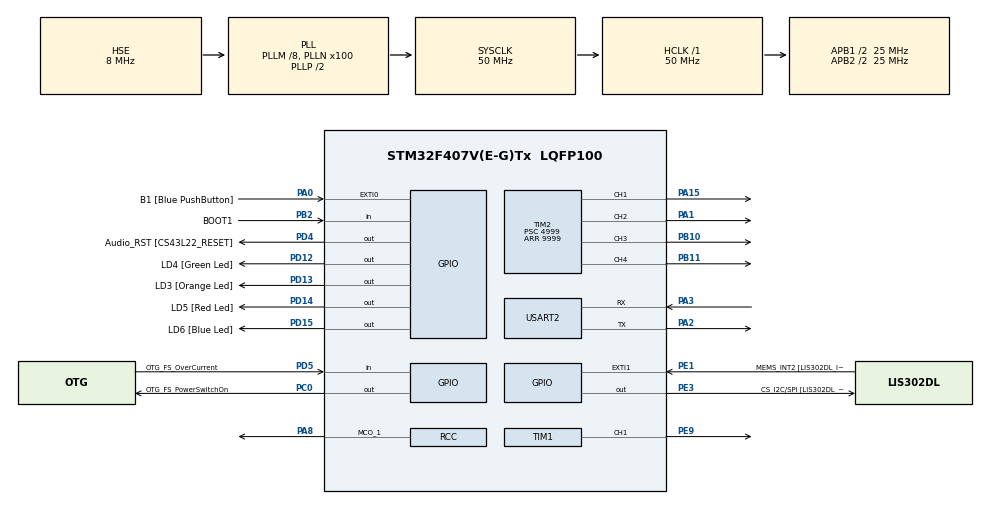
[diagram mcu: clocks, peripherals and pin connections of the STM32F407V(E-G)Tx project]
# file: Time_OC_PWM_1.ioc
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Dma.Request0=TIM1_UP
Dma.TIM1_UP.0.Direction=DMA_PERIPH_TO_MEMORY
Dma.TIM1_UP.0.FIFOMode=DMA_FIFOMODE_DISABLE
Dma.TIM1_UP.0.Instance=DMA2_Stream5
Dma.TIM1_UP.0.MemDataAlignment=DMA_MDATAALIGN_BYTE
Dma.TIM1_UP.0.MemInc=DMA_MINC_ENABLE
Dma.TIM1_UP.0.Mode=DMA_NORMAL
Dma.TIM1_UP.0.PeriphDataAlignment=DMA_PDATAALIGN_BYTE
Dma.TIM1_UP.0.PeriphInc=DMA_PINC_ENABLE
Dma.TIM1_UP.0.Priority=DMA_PRIORITY_HIGH
Mcu.Family=STM32F4
Mcu.Name=STM32F407V(E-G)Tx
Mcu.Package=LQFP100
NVIC.DMA2_Stream5_IRQn=true\:0\:0\:false\:false\:true\:false\:true
NVIC.PriorityGroup=NVIC_PRIORITYGROUP_0
NVIC.USART2_IRQn=true\:0\:0\:false\:false\:true\:true\:true
PA0-WKUP.GPIO_Label=B1 [Blue PushButton]
PA0-WKUP.Signal=GPXTI0
PA1.Signal=S_TIM2_CH2
PA10.GPIO_Label=OTG_FS_ID
PA10.GPIO_Mode=GPIO_MODE_AF_PP
PA10.GPIO_PuPd=GPIO_NOPULL
PA10.GPIO_Speed=GPIO_SPEED_FREQ_LOW
PA10.Signal=USB_OTG_FS_ID
PA11.GPIO_Label=OTG_FS_DM
PA11.GPIO_Mode=GPIO_MODE_AF_PP
PA11.GPIO_PuPd=GPIO_NOPULL
PA11.GPIO_Speed=GPIO_SPEED_FREQ_LOW
PA11.Signal=USB_OTG_FS_DM
PA12.GPIO_Label=OTG_FS_DP
PA12.GPIO_Mode=GPIO_MODE_AF_PP
PA12.GPIO_PuPd=GPIO_NOPULL
PA12.GPIO_Speed=GPIO_SPEED_FREQ_LOW
PA12.Signal=USB_OTG_FS_DP
PA13.GPIO_Label=SWDIO
PA13.Signal=SYS_JTMS-SWDIO
PA14.GPIO_Label=SWCLK
PA14.Signal=SYS_JTCK-SWCLK
PA15.Signal=S_TIM2_CH1_ETR
PA2.Mode=Asynchronous
PA2.Signal=USART2_TX
PA3.Mode=Asynchronous
PA3.Signal=USART2_RX
PA4.GPIO_Label=I2S3_WS [CS43L22_LRCK]
PA4.GPIO_Mode=GPIO_MODE_AF_PP
PA4.GPIO_PuPd=GPIO_NOPULL
PA4.GPIO_Speed=GPIO_SPEED_FREQ_LOW
PA4.Signal=I2S3_WS
PA5.GPIO_Label=SPI1_SCK [LIS302DL_SCL/SPC]
PA5.GPIO_Mode=GPIO_MODE_AF_PP
PA5.GPIO_PuPd=GPIO_NOPULL
PA5.GPIO_Speed=GPIO_SPEED_FREQ_LOW
PA5.Signal=SPI1_SCK
PA6.GPIO_Label=SPI1_MISO [LIS302DL_SDO]
PA6.GPIO_Mode=GPIO_MODE_AF_PP
PA6.GPIO_PuPd=GPIO_NOPULL
PA6.GPIO_Speed=GPIO_SPEED_FREQ_LOW
PA6.Signal=SPI1_MISO
PA7.GPIO_Label=SPI1_MOSI [LIS302DL_SDA/SDI/SDO]
PA7.GPIO_Mode=GPIO_MODE_AF_PP
PA7.GPIO_PuPd=GPIO_NOPULL
PA7.GPIO_Speed=GPIO_SPEED_FREQ_LOW
PA7.Signal=SPI1_MOSI
PA8.Mode=Clock-out-1
PA8.Signal=RCC_MCO_1
PA9.GPIO_Label=VBUS_FS
PA9.GPIO_Mode=GPIO_MODE_INPUT
PA9.GPIO_PuPd=GPIO_NOPULL
PA9.Signal=USB_OTG_FS_VBUS
PB10.Signal=S_TIM2_CH3
PB11.Signal=S_TIM2_CH4
PB2.GPIO_Label=BOOT1
PB2.GPIO_Mode=GPIO_MODE_INPUT
PB2.GPIO_PuPd=GPIO_NOPULL
PB2.Signal=GPIO_Input
PB3.GPIO_Label=SWO
PB3.Signal=SYS_JTDO-SWO
PB6.GPIO_Label=Audio_SCL [CS43L22_SCL]
PB6.GPIO_Mode=GPIO_MODE_AF_OD
PB6.GPIO_PuPd=GPIO_NOPULL
PB6.GPIO_Speed=GPIO_SPEED_FREQ_LOW
PB6.Signal=I2C1_SCL
PB9.GPIO_Label=Audio_SDA [CS43L22_SDA]
PB9.GPIO_Mode=GPIO_MODE_AF_OD
PB9.GPIO_PuPd=GPIO_NOPULL
PB9.GPIO_Speed=GPIO_SPEED_FREQ_LOW
PB9.Signal=I2C1_SDA
PC0.GPIO_Label=OTG_FS_PowerSwitchOn
PC0.GPIO_PuPd=GPIO_NOPULL
PC0.GPIO_Speed=GPIO_SPEED_FREQ_LOW
PC0.PinState=GPIO_PIN_SET
PC0.Signal=GPIO_Output
PC10.GPIO_Label=I2S3_SCK [CS43L22_SCLK]
PC10.GPIO_Mode=GPIO_MODE_AF_PP
PC10.GPIO_PuPd=GPIO_NOPULL
PC10.GPIO_Speed=GPIO_SPEED_FREQ_LOW
PC10.Signal=I2S3_CK
PC12.GPIO_Label=I2S3_SD [CS43L22_SDIN]
PC12.GPIO_Mode=GPIO_MODE_AF_PP
PC12.GPIO_PuPd=GPIO_NOPULL
PC12.GPIO_Speed=GPIO_SPEED_FREQ_LOW
PC12.Signal=I2S3_SD
PC14-OSC32_IN.GPIO_Label=PC14-OSC32_IN
PC14-OSC32_IN.Signal=RCC_OSC32_IN
PC15-OSC32_OUT.GPIO_Label=PC15-OSC32_OUT
PC15-OSC32_OUT.Signal=RCC_OSC32_OUT
PC3.GPIO_Label=PDM_OUT [MP45DT02_DOUT]
PC3.GPIO_Mode=GPIO_MODE_AF_PP
PC3.GPIO_PuPd=GPIO_NOPULL
PC3.GPIO_Speed=GPIO_SPEED_FREQ_LOW
PC3.Signal=I2S2_SD
PC7.GPIO_Label=I2S3_MCK [CS43L22_MCLK]
PC7.GPIO_Mode=GPIO_MODE_AF_PP
PC7.GPIO_PuPd=GPIO_NOPULL
PC7.GPIO_Speed=GPIO_SPEED_FREQ_LOW
PC7.Signal=I2S3_MCK
PC8.Signal=S_TIM3_CH3
PD12.GPIO_Label=LD4 [Green Led]
PD12.GPIO_PuPd=GPIO_NOPULL
PD12.GPIO_Speed=GPIO_SPEED_FREQ_LOW
PD12.Signal=GPIO_Output
PD13.GPIO_Label=LD3 [Orange Led]
PD13.GPIO_PuPd=GPIO_NOPULL
PD13.GPIO_Speed=GPIO_SPEED_FREQ_LOW
PD13.Signal=GPIO_Output
PD14.GPIO_Label=LD5 [Red Led]
PD14.GPIO_PuPd=GPIO_NOPULL
PD14.GPIO_Speed=GPIO_SPEED_FREQ_LOW
PD14.Signal=GPIO_Output
PD15.GPIO_Label=LD6 [Blue Led]
PD15.GPIO_PuPd=GPIO_NOPULL
PD15.GPIO_Speed=GPIO_SPEED_FREQ_LOW
PD15.Signal=GPIO_Output
PD4.GPIO_Label=Audio_RST [CS43L22_RESET]
PD4.GPIO_PuPd=GPIO_NOPULL
PD4.GPIO_Speed=GPIO_SPEED_FREQ_LOW
PD4.Signal=GPIO_Output
PD5.GPIO_Label=OTG_FS_OverCurrent
PD5.GPIO_Mode=GPIO_MODE_INPUT
PD5.GPIO_PuPd=GPIO_NOPULL
PD5.Signal=GPIO_Input
PE1.GPIO_Label=MEMS_INT2 [LIS302DL_INT2]
PE1.GPIO_ModeDefaultEXTI=GPIO_MODE_EVT_RISING
PE1.GPIO_PuPd=GPIO_NOPULL
PE1.Signal=GPXTI1
PE3.GPIO_Label=CS_I2C/SPI [LIS302DL_CS_I2C/SPI]
PE3.GPIO_PuPd=GPIO_NOPULL
PE3.GPIO_Speed=GPIO_SPEED_FREQ_LOW
PE3.Signal=GPIO_Output
PE9.Signal=S_TIM1_CH1
PH0-OSC_IN.GPIO_Label=PH0-OSC_IN
PH0-OSC_IN.Mode=HSE-External-Oscillator
PH0-OSC_IN.Signal=RCC_OSC_IN
PH1-OSC_OUT.GPIO_Label=PH1-OSC_OUT
PH1-OSC_OUT.Mode=HSE-External-Oscillator
PH1-OSC_OUT.Signal=RCC_OSC_OUT
ProjectManager.HeapSize=0x200
ProjectManager.StackSize=0x400
ProjectManager.TargetToolchain=STM32CubeIDE
RCC.48MHZClocksFreq_Value=14285714.285714285
RCC.AHBFreq_Value=50000000
RCC.APB1CLKDivider=RCC_HCLK_DIV2
RCC.APB1Freq_Value=25000000
RCC.APB1TimFreq_Value=50000000
RCC.APB2CLKDivider=RCC_HCLK_DIV2
RCC.APB2Freq_Value=25000000
RCC.APB2TimFreq_Value=50000000
RCC.CortexFreq_Value=50000000
RCC.HCLKFreq_Value=50000000
RCC.HSE_VALUE=8000000
RCC.HSI_VALUE=16000000
RCC.LSE_VALUE=32768
RCC.PLLM=8
RCC.PLLN=100
RCC.PLLQ=7
RCC.PLLSourceVirtual=RCC_PLLSOURCE_HSE
RCC.SYSCLKFreq_VALUE=50000000
RCC.SYSCLKSource=RCC_SYSCLKSOURCE_PLLCLK
RCC.VCOOutputFreq_Value=100000000
SH.S_TIM1_CH1.0=TIM1_CH1,PWM Generation1 CH1
SH.S_TIM2_CH1_ETR.0=TIM2_CH1,PWM Generation1 CH1
SH.S_TIM2_CH2.0=TIM2_CH2,PWM Generation2 CH2
SH.S_TIM2_CH3.0=TIM2_CH3,PWM Generation3 CH3
SH.S_TIM2_CH4.0=TIM2_CH4,PWM Generation4 CH4
SH.S_TIM3_CH3.0=TIM3_CH3
TIM1.Channel-PWM\ Generation1\ CH1=TIM_CHANNEL_1
TIM1.OCFastMode_PWM-PWM\ Generation1\ CH1=TIM_OCFAST_ENABLE
TIM1.OCPolarity_1=TIM_OCPOLARITY_LOW
TIM1.Period=9
TIM1.Prescaler=0
TIM1.Pulse-PWM\ Generation1\ CH1=5
TIM2.Channel-PWM\ Generation1\ CH1=TIM_CHANNEL_1
TIM2.Channel-PWM\ Generation2\ CH2=TIM_CHANNEL_2
TIM2.Channel-PWM\ Generation3\ CH3=TIM_CHANNEL_3
TIM2.Channel-PWM\ Generation4\ CH4=TIM_CHANNEL_4
TIM2.OC1Preload_PWM=DISABLE
TIM2.OC3Preload_PWM=DISABLE
TIM2.OC4Preload_PWM=DISABLE
TIM2.Period=9999
TIM2.Prescaler=4999
TIM2.Pulse-PWM\ Generation1\ CH1=2500
TIM2.Pulse-PWM\ Generation2\ CH2=4500
TIM2.Pulse-PWM\ Generation3\ CH3=7500
TIM2.Pulse-PWM\ Generation4\ CH4=9000
USART2.VirtualMode=VM_ASYNC
board=STM32F407G-DISC1

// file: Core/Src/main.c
/* USER CODE BEGIN Header */
/**
  ******************************************************************************
  * @file           : main.c
  * @brief          : Program configures and starts all 4 TIM2 channels in PWM generation mode and generates a 1Hz frequency
  * 				  with 4 different duty cycles to be output on different pins.
  *
  * 				  A 5 MHz signal is generated using TIM1 CH1 PWM Generation mode and output on PE9. This triggers
  * 				  a DMA request on update events and transfers data from SRAM1 to SRAM2.
  *
    				  TIM2 GPIO Configuration
						PA15     ------> TIM2_CH1 (25% Duty)
						PA1      ------> TIM2_CH2 (45% Duty)
						PB10     ------> TIM2_CH3 (75% Duty)
						PB11     ------> TIM2_CH4 (90% Duty)

    				  TIM4 GPIO Configuration
						PE9      ------> TIM1_CH1 (4.6 MHz)
  ******************************************************************************
  * @attention
  *
  * <h2><center>&copy; Copyright (c) 2020 STMicroelectronics.
  * All rights reserved.</center></h2>
  *
  * This software component is licensed by ST under BSD 3-Clause license,
  * the "License"; You may not use this file except in compliance with the
  * License. You may obtain a copy of the License at:
  *                        opensource.org/licenses/BSD-3-Clause
  *
  ******************************************************************************
  */
/* USER CODE END Header */

#include "main.h"

TIM_HandleTypeDef htim1;
TIM_HandleTypeDef htim2;
DMA_HandleTypeDef hdma_tim1_up;

UART_HandleTypeDef huart2;

/* USER CODE BEGIN PV */

uint32_t *sram2Address = (uint32_t *) SRAM2_BASE;
uint8_t data[50] = "Hello, this is a memory to memory data transfer!\n";

/* USER CODE END PV */

void SystemClock_Config(void);
static void MX_GPIO_Init(void);
static void MX_DMA_Init(void);
static void MX_USART2_UART_Init(void);
static void MX_TIM2_Init(void);
static void MX_TIM1_Init(void);
/* USER CODE BEGIN PFP */
void DMA_Transfer_Complete(DMA_HandleTypeDef *pHandle) ;
void DMA_Transfer_HalfComplete(DMA_HandleTypeDef *pHandle) ;

/* USER CODE END PFP */

int main(void)
{

  /* MCU Configuration--------------------------------------------------------*/

  /* Reset of all peripherals, Initializes the Flash interface and the Systick. */
  HAL_Init();

  /* Configure the system clock */
  SystemClock_Config();

  /* Initialize all configured peripherals */
  MX_GPIO_Init();
  MX_DMA_Init();
  MX_USART2_UART_Init();
  MX_TIM2_Init();
  MX_TIM1_Init();
  /* USER CODE BEGIN 2 */

  //Start PWM output channels
  if(HAL_TIM_PWM_Start(&htim2, TIM_CHANNEL_1) != HAL_OK) {
	  Error_Handler();
  }
  if(HAL_TIM_PWM_Start(&htim2, TIM_CHANNEL_2) != HAL_OK) {
	  Error_Handler();
  }
  if(HAL_TIM_PWM_Start(&htim2, TIM_CHANNEL_3) != HAL_OK) {
	  Error_Handler();
  }
  if(HAL_TIM_PWM_Start(&htim2, TIM_CHANNEL_4) != HAL_OK) {
	  Error_Handler();
  }

  //Enable Update DMA Request
  TIM1->DIER |= TIM_DIER_UDE_Msk;
  //Enable Update interrupt
//  TIM1->DIER |= TIM_DIER_UIE_Msk;
  //Send CCx DMA requests when update event occurs
//  TIM3->CR2 |= (1 << 3);
  //Disable CC1 interrupt
  TIM1->DIER &= ~TIM_DIER_CC1IE_Msk;
  if(HAL_TIM_PWM_Start(&htim1, TIM_CHANNEL_1) != HAL_OK) {
	  Error_Handler();
  }

  /* USER CODE END 2 */

  /* Infinite loop */
  while (1)
  {

  }
}

void SystemClock_Config(void)
{
  RCC_OscInitTypeDef RCC_OscInitStruct = {0};
  RCC_ClkInitTypeDef RCC_ClkInitStruct = {0};

  /** Configure the main internal regulator output voltage
  */
  __HAL_RCC_PWR_CLK_ENABLE();
  __HAL_PWR_VOLTAGESCALING_CONFIG(PWR_REGULATOR_VOLTAGE_SCALE1);
  /** Initializes the CPU, AHB and APB busses clocks
  */
  RCC_OscInitStruct.OscillatorType = RCC_OSCILLATORTYPE_HSI|RCC_OSCILLATORTYPE_HSE;
  RCC_OscInitStruct.HSEState = RCC_HSE_ON;
  RCC_OscInitStruct.HSIState = RCC_HSI_ON;
  RCC_OscInitStruct.HSICalibrationValue = RCC_HSICALIBRATION_DEFAULT;
  RCC_OscInitStruct.PLL.PLLState = RCC_PLL_ON;
  RCC_OscInitStruct.PLL.PLLSource = RCC_PLLSOURCE_HSE;
  RCC_OscInitStruct.PLL.PLLM = 8;
  RCC_OscInitStruct.PLL.PLLN = 100;
  RCC_OscInitStruct.PLL.PLLP = RCC_PLLP_DIV2;
  RCC_OscInitStruct.PLL.PLLQ = 7;
  if (HAL_RCC_OscConfig(&RCC_OscInitStruct) != HAL_OK)
  {
    Error_Handler();
  }
  /** Initializes the CPU, AHB and APB busses clocks
  */
  RCC_ClkInitStruct.ClockType = RCC_CLOCKTYPE_HCLK|RCC_CLOCKTYPE_SYSCLK
                              |RCC_CLOCKTYPE_PCLK1|RCC_CLOCKTYPE_PCLK2;
  RCC_ClkInitStruct.SYSCLKSource = RCC_SYSCLKSOURCE_PLLCLK;
  RCC_ClkInitStruct.AHBCLKDivider = RCC_SYSCLK_DIV1;
  RCC_ClkInitStruct.APB1CLKDivider = RCC_HCLK_DIV2;
  RCC_ClkInitStruct.APB2CLKDivider = RCC_HCLK_DIV2;

  if (HAL_RCC_ClockConfig(&RCC_ClkInitStruct, FLASH_LATENCY_1) != HAL_OK)
  {
    Error_Handler();
  }
  HAL_RCC_MCOConfig(RCC_MCO1, RCC_MCO1SOURCE_HSI, RCC_MCODIV_1);
}

static void MX_TIM1_Init(void)
{

  TIM_MasterConfigTypeDef sMasterConfig = {0};
  TIM_OC_InitTypeDef sConfigOC = {0};
  TIM_BreakDeadTimeConfigTypeDef sBreakDeadTimeConfig = {0};

  htim1.Instance = TIM1;
  htim1.Init.Prescaler = 0;
  htim1.Init.CounterMode = TIM_COUNTERMODE_UP;
  htim1.Init.Period = 9;
  htim1.Init.ClockDivision = TIM_CLOCKDIVISION_DIV1;
  htim1.Init.RepetitionCounter = 0;
  htim1.Init.AutoReloadPreload = TIM_AUTORELOAD_PRELOAD_DISABLE;
  if (HAL_TIM_PWM_Init(&htim1) != HAL_OK)
  {
    Error_Handler();
  }
  sMasterConfig.MasterOutputTrigger = TIM_TRGO_RESET;
  sMasterConfig.MasterSlaveMode = TIM_MASTERSLAVEMODE_DISABLE;
  if (HAL_TIMEx_MasterConfigSynchronization(&htim1, &sMasterConfig) != HAL_OK)
  {
    Error_Handler();
  }
  sConfigOC.OCMode = TIM_OCMODE_PWM1;
  sConfigOC.Pulse = 5;
  sConfigOC.OCPolarity = TIM_OCPOLARITY_LOW;
  sConfigOC.OCNPolarity = TIM_OCNPOLARITY_HIGH;
  sConfigOC.OCFastMode = TIM_OCFAST_ENABLE;
  sConfigOC.OCIdleState = TIM_OCIDLESTATE_RESET;
  sConfigOC.OCNIdleState = TIM_OCNIDLESTATE_RESET;
  if (HAL_TIM_PWM_ConfigChannel(&htim1, &sConfigOC, TIM_CHANNEL_1) != HAL_OK)
  {
    Error_Handler();
  }
  sBreakDeadTimeConfig.OffStateRunMode = TIM_OSSR_DISABLE;
  sBreakDeadTimeConfig.OffStateIDLEMode = TIM_OSSI_DISABLE;
  sBreakDeadTimeConfig.LockLevel = TIM_LOCKLEVEL_OFF;
  sBreakDeadTimeConfig.DeadTime = 0;
  sBreakDeadTimeConfig.BreakState = TIM_BREAK_DISABLE;
  sBreakDeadTimeConfig.BreakPolarity = TIM_BREAKPOLARITY_HIGH;
  sBreakDeadTimeConfig.AutomaticOutput = TIM_AUTOMATICOUTPUT_DISABLE;
  if (HAL_TIMEx_ConfigBreakDeadTime(&htim1, &sBreakDeadTimeConfig) != HAL_OK)
  {
    Error_Handler();
  }
  /* USER CODE BEGIN TIM1_Init 2 */

  /* Configure the source, destination address and the data length */
  DMA_HandleTypeDef *hdma = htim1.hdma[TIM_DMA_ID_UPDATE];

  /* Configure DMA Stream data length */
  hdma->Instance->NDTR = 50;

  /* Configure DMA Stream source address */
  hdma->Instance->PAR = (uint32_t)data;

  /* Configure DMA Stream destination address */
  hdma->Instance->M0AR = (uint32_t)sram2Address;

  /* Set the DMA compare callbacks */
  hdma->XferCpltCallback = DMA_Transfer_Complete;
  hdma->XferHalfCpltCallback = DMA_Transfer_HalfComplete;

  /* Enable interrupts */
  hdma->Instance->CR |= DMA_SxCR_TCIE_Msk;
  hdma->Instance->CR |= DMA_SxCR_HTIE_Msk;

  /* Enable the Peripheral */
  __HAL_DMA_ENABLE(hdma);

  /* USER CODE END TIM1_Init 2 */
  HAL_TIM_MspPostInit(&htim1);

}

static void MX_TIM2_Init(void)
{

  TIM_MasterConfigTypeDef sMasterConfig = {0};
  TIM_OC_InitTypeDef sConfigOC = {0};

  htim2.Instance = TIM2;
  htim2.Init.Prescaler = 4999;
  htim2.Init.CounterMode = TIM_COUNTERMODE_UP;
  htim2.Init.Period = 9999;
  htim2.Init.ClockDivision = TIM_CLOCKDIVISION_DIV1;
  htim2.Init.AutoReloadPreload = TIM_AUTORELOAD_PRELOAD_DISABLE;
  if (HAL_TIM_PWM_Init(&htim2) != HAL_OK)
  {
    Error_Handler();
  }
  sMasterConfig.MasterOutputTrigger = TIM_TRGO_RESET;
  sMasterConfig.MasterSlaveMode = TIM_MASTERSLAVEMODE_DISABLE;
  if (HAL_TIMEx_MasterConfigSynchronization(&htim2, &sMasterConfig) != HAL_OK)
  {
    Error_Handler();
  }
  sConfigOC.OCMode = TIM_OCMODE_PWM1;
  sConfigOC.Pulse = 2500;
  sConfigOC.OCPolarity = TIM_OCPOLARITY_HIGH;
  sConfigOC.OCFastMode = TIM_OCFAST_DISABLE;
  if (HAL_TIM_PWM_ConfigChannel(&htim2, &sConfigOC, TIM_CHANNEL_1) != HAL_OK)
  {
    Error_Handler();
  }
  __HAL_TIM_DISABLE_OCxPRELOAD(&htim2, TIM_CHANNEL_1);
  sConfigOC.Pulse = 4500;
  if (HAL_TIM_PWM_ConfigChannel(&htim2, &sConfigOC, TIM_CHANNEL_2) != HAL_OK)
  {
    Error_Handler();
  }
  sConfigOC.Pulse = 7500;
  if (HAL_TIM_PWM_ConfigChannel(&htim2, &sConfigOC, TIM_CHANNEL_3) != HAL_OK)
  {
    Error_Handler();
  }
  __HAL_TIM_DISABLE_OCxPRELOAD(&htim2, TIM_CHANNEL_3);
  sConfigOC.Pulse = 9000;
  if (HAL_TIM_PWM_ConfigChannel(&htim2, &sConfigOC, TIM_CHANNEL_4) != HAL_OK)
  {
    Error_Handler();
  }
  __HAL_TIM_DISABLE_OCxPRELOAD(&htim2, TIM_CHANNEL_4);
  HAL_TIM_MspPostInit(&htim2);

}

static void MX_USART2_UART_Init(void)
{

  huart2.Instance = USART2;
  huart2.Init.BaudRate = 115200;
  huart2.Init.WordLength = UART_WORDLENGTH_8B;
  huart2.Init.StopBits = UART_STOPBITS_1;
  huart2.Init.Parity = UART_PARITY_NONE;
  huart2.Init.Mode = UART_MODE_TX_RX;
  huart2.Init.HwFlowCtl = UART_HWCONTROL_NONE;
  huart2.Init.OverSampling = UART_OVERSAMPLING_16;
  if (HAL_UART_Init(&huart2) != HAL_OK)
  {
    Error_Handler();
  }

}

static void MX_DMA_Init(void)
{

  /* DMA controller clock enable */
  __HAL_RCC_DMA2_CLK_ENABLE();

  /* DMA interrupt init */
  /* DMA2_Stream5_IRQn interrupt configuration */
  HAL_NVIC_SetPriority(DMA2_Stream5_IRQn, 0, 0);
  HAL_NVIC_EnableIRQ(DMA2_Stream5_IRQn);

}

static void MX_GPIO_Init(void)
{
  GPIO_InitTypeDef GPIO_InitStruct = {0};

  /* GPIO Ports Clock Enable */
  __HAL_RCC_GPIOE_CLK_ENABLE();
  __HAL_RCC_GPIOC_CLK_ENABLE();
  __HAL_RCC_GPIOH_CLK_ENABLE();
  __HAL_RCC_GPIOA_CLK_ENABLE();
  __HAL_RCC_GPIOB_CLK_ENABLE();
  __HAL_RCC_GPIOD_CLK_ENABLE();

  /*Configure GPIO pin Output Level */
  HAL_GPIO_WritePin(CS_I2C_SPI_GPIO_Port, CS_I2C_SPI_Pin, GPIO_PIN_RESET);

  /*Configure GPIO pin Output Level */
  HAL_GPIO_WritePin(OTG_FS_PowerSwitchOn_GPIO_Port, OTG_FS_PowerSwitchOn_Pin, GPIO_PIN_SET);

  /*Configure GPIO pin Output Level */
  HAL_GPIO_WritePin(GPIOD, LD4_Pin|LD3_Pin|LD5_Pin|LD6_Pin
                          |Audio_RST_Pin, GPIO_PIN_RESET);

  /*Configure GPIO pin : CS_I2C_SPI_Pin */
  GPIO_InitStruct.Pin = CS_I2C_SPI_Pin;
  GPIO_InitStruct.Mode = GPIO_MODE_OUTPUT_PP;
  GPIO_InitStruct.Pull = GPIO_NOPULL;
  GPIO_InitStruct.Speed = GPIO_SPEED_FREQ_LOW;
  HAL_GPIO_Init(CS_I2C_SPI_GPIO_Port, &GPIO_InitStruct);

  /*Configure GPIO pin : OTG_FS_PowerSwitchOn_Pin */
  GPIO_InitStruct.Pin = OTG_FS_PowerSwitchOn_Pin;
  GPIO_InitStruct.Mode = GPIO_MODE_OUTPUT_PP;
  GPIO_InitStruct.Pull = GPIO_NOPULL;
  GPIO_InitStruct.Speed = GPIO_SPEED_FREQ_LOW;
  HAL_GPIO_Init(OTG_FS_PowerSwitchOn_GPIO_Port, &GPIO_InitStruct);

  /*Configure GPIO pin : PDM_OUT_Pin */
  GPIO_InitStruct.Pin = PDM_OUT_Pin;
  GPIO_InitStruct.Mode = GPIO_MODE_AF_PP;
  GPIO_InitStruct.Pull = GPIO_NOPULL;
  GPIO_InitStruct.Speed = GPIO_SPEED_FREQ_LOW;
  GPIO_InitStruct.Alternate = GPIO_AF5_SPI2;
  HAL_GPIO_Init(PDM_OUT_GPIO_Port, &GPIO_InitStruct);

  /*Configure GPIO pin : B1_Pin */
  GPIO_InitStruct.Pin = B1_Pin;
  GPIO_InitStruct.Mode = GPIO_MODE_IT_RISING;
  GPIO_InitStruct.Pull = GPIO_NOPULL;
  HAL_GPIO_Init(B1_GPIO_Port, &GPIO_InitStruct);

  /*Configure GPIO pin : I2S3_WS_Pin */
  GPIO_InitStruct.Pin = I2S3_WS_Pin;
  GPIO_InitStruct.Mode = GPIO_MODE_AF_PP;
  GPIO_InitStruct.Pull = GPIO_NOPULL;
  GPIO_InitStruct.Speed = GPIO_SPEED_FREQ_LOW;
  GPIO_InitStruct.Alternate = GPIO_AF6_SPI3;
  HAL_GPIO_Init(I2S3_WS_GPIO_Port, &GPIO_InitStruct);

  /*Configure GPIO pins : SPI1_SCK_Pin SPI1_MISO_Pin SPI1_MOSI_Pin */
  GPIO_InitStruct.Pin = SPI1_SCK_Pin|SPI1_MISO_Pin|SPI1_MOSI_Pin;
  GPIO_InitStruct.Mode = GPIO_MODE_AF_PP;
  GPIO_InitStruct.Pull = GPIO_NOPULL;
  GPIO_InitStruct.Speed = GPIO_SPEED_FREQ_LOW;
  GPIO_InitStruct.Alternate = GPIO_AF5_SPI1;
  HAL_GPIO_Init(GPIOA, &GPIO_InitStruct);

  /*Configure GPIO pin : BOOT1_Pin */
  GPIO_InitStruct.Pin = BOOT1_Pin;
  GPIO_InitStruct.Mode = GPIO_MODE_INPUT;
  GPIO_InitStruct.Pull = GPIO_NOPULL;
  HAL_GPIO_Init(BOOT1_GPIO_Port, &GPIO_InitStruct);

  /*Configure GPIO pins : LD4_Pin LD3_Pin LD5_Pin LD6_Pin
                           Audio_RST_Pin */
  GPIO_InitStruct.Pin = LD4_Pin|LD3_Pin|LD5_Pin|LD6_Pin
                          |Audio_RST_Pin;
  GPIO_InitStruct.Mode = GPIO_MODE_OUTPUT_PP;
  GPIO_InitStruct.Pull = GPIO_NOPULL;
  GPIO_InitStruct.Speed = GPIO_SPEED_FREQ_LOW;
  HAL_GPIO_Init(GPIOD, &GPIO_InitStruct);

  /*Configure GPIO pins : I2S3_MCK_Pin I2S3_SCK_Pin I2S3_SD_Pin */
  GPIO_InitStruct.Pin = I2S3_MCK_Pin|I2S3_SCK_Pin|I2S3_SD_Pin;
  GPIO_InitStruct.Mode = GPIO_MODE_AF_PP;
  GPIO_InitStruct.Pull = GPIO_NOPULL;
  GPIO_InitStruct.Speed = GPIO_SPEED_FREQ_LOW;
  GPIO_InitStruct.Alternate = GPIO_AF6_SPI3;
  HAL_GPIO_Init(GPIOC, &GPIO_InitStruct);

  /*Configure GPIO pin : PC8 */
  GPIO_InitStruct.Pin = GPIO_PIN_8;
  GPIO_InitStruct.Mode = GPIO_MODE_AF_PP;
  GPIO_InitStruct.Pull = GPIO_NOPULL;
  GPIO_InitStruct.Speed = GPIO_SPEED_FREQ_LOW;
  GPIO_InitStruct.Alternate = GPIO_AF2_TIM3;
  HAL_GPIO_Init(GPIOC, &GPIO_InitStruct);

  /*Configure GPIO pin : PA8 */
  GPIO_InitStruct.Pin = GPIO_PIN_8;
  GPIO_InitStruct.Mode = GPIO_MODE_AF_PP;
  GPIO_InitStruct.Pull = GPIO_NOPULL;
  GPIO_InitStruct.Speed = GPIO_SPEED_FREQ_LOW;
  GPIO_InitStruct.Alternate = GPIO_AF0_MCO;
  HAL_GPIO_Init(GPIOA, &GPIO_InitStruct);

  /*Configure GPIO pin : VBUS_FS_Pin */
  GPIO_InitStruct.Pin = VBUS_FS_Pin;
  GPIO_InitStruct.Mode = GPIO_MODE_INPUT;
  GPIO_InitStruct.Pull = GPIO_NOPULL;
  HAL_GPIO_Init(VBUS_FS_GPIO_Port, &GPIO_InitStruct);

  /*Configure GPIO pins : OTG_FS_ID_Pin OTG_FS_DM_Pin OTG_FS_DP_Pin */
  GPIO_InitStruct.Pin = OTG_FS_ID_Pin|OTG_FS_DM_Pin|OTG_FS_DP_Pin;
  GPIO_InitStruct.Mode = GPIO_MODE_AF_PP;
  GPIO_InitStruct.Pull = GPIO_NOPULL;
  GPIO_InitStruct.Speed = GPIO_SPEED_FREQ_LOW;
  GPIO_InitStruct.Alternate = GPIO_AF10_OTG_FS;
  HAL_GPIO_Init(GPIOA, &GPIO_InitStruct);

  /*Configure GPIO pin : OTG_FS_OverCurrent_Pin */
  GPIO_InitStruct.Pin = OTG_FS_OverCurrent_Pin;
  GPIO_InitStruct.Mode = GPIO_MODE_INPUT;
  GPIO_InitStruct.Pull = GPIO_NOPULL;
  HAL_GPIO_Init(OTG_FS_OverCurrent_GPIO_Port, &GPIO_InitStruct);

  /*Configure GPIO pins : Audio_SCL_Pin Audio_SDA_Pin */
  GPIO_InitStruct.Pin = Audio_SCL_Pin|Audio_SDA_Pin;
  GPIO_InitStruct.Mode = GPIO_MODE_AF_OD;
  GPIO_InitStruct.Pull = GPIO_PULLUP;
  GPIO_InitStruct.Speed = GPIO_SPEED_FREQ_LOW;
  GPIO_InitStruct.Alternate = GPIO_AF4_I2C1;
  HAL_GPIO_Init(GPIOB, &GPIO_InitStruct);

  /*Configure GPIO pin : MEMS_INT2_Pin */
  GPIO_InitStruct.Pin = MEMS_INT2_Pin;
  GPIO_InitStruct.Mode = GPIO_MODE_EVT_RISING;
  GPIO_InitStruct.Pull = GPIO_NOPULL;
  HAL_GPIO_Init(MEMS_INT2_GPIO_Port, &GPIO_InitStruct);

}

/* USER CODE BEGIN 4 */
uint32_t temp = 0;
void HAL_TIM_PWM_PulseFinishedCallback(TIM_HandleTypeDef *htim) {
	temp++;
}

void HAL_TIM_PeriodElapsedCallback (TIM_HandleTypeDef *htim) {
	temp++;
}

void DMA_Transfer_Complete(DMA_HandleTypeDef *pHandle) {
	temp++;
}

void DMA_Transfer_HalfComplete(DMA_HandleTypeDef *pHandle) {
	temp++;
}

/* USER CODE END 4 */

void Error_Handler(void)
{
}

/************************ (C) COPYRIGHT STMicroelectronics *****END OF FILE****/
